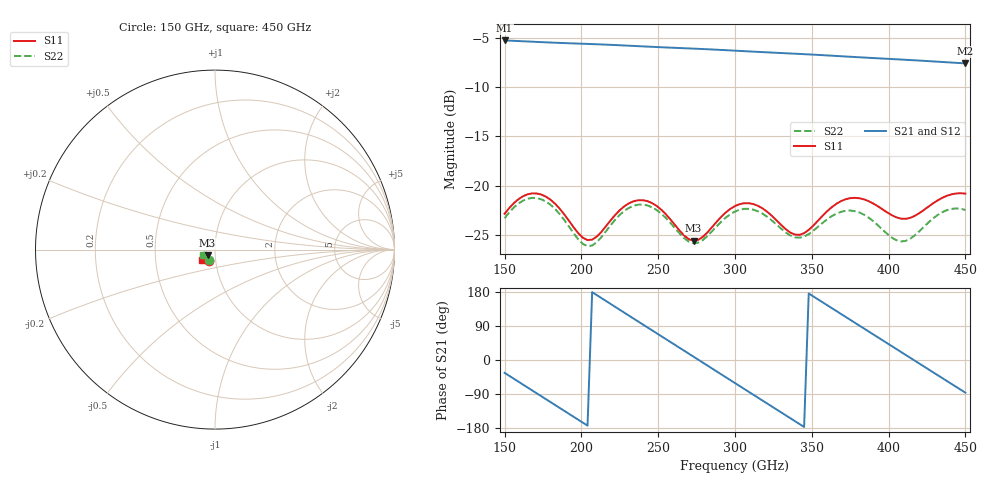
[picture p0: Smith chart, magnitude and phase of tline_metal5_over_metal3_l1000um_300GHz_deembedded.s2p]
! Created with skrf 2.0.1 (http://scikit-rf.org).
# GHz S DB R 50.0
!freq dBS11 angS11 dBS21 angS21 dBS12 angS12 dBS22 angS22
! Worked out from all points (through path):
!   101 points, 150 GHz to 450 GHz, reference 50 ohm
!   highest |S21| = -5.27 dB at 150 GHz (marker M1); lowest = -7.6 dB at 450 GHz (marker M2)
!   group delay of S21, straight-line fit = 7.15 ps
!   lowest |S11| = -25.6 dB at 273 GHz (marker M3), VSWR 1.11, Z = 45.9 - j2.96 ohm
!   |S11| at or under -10 dB: start of sweep to end of sweep
!   |S22| runs from -26.2 to -21.3 dB; largest |S21 - S12| = 8.7e-14
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150  -22.86 -119.2  -5.27 -33.9  -5.27 -33.9  -23.32 -121.5
162  -21.08 -127.9  -5.35 -64.9  -5.35 -64.9  -21.53 -131.4
174  -20.92 -141.8  -5.44 -95.9  -5.44 -95.9  -21.40 -146.2
186  -22.38 -152.7  -5.52 -126.8  -5.52 -126.8  -22.93 -157.7
201  -25.31 -146.7  -5.60 -165.5  -5.60 -165.5  -25.93 -151.8
216  -24.13 -127.8  -5.69 155.8  -5.69 155.8  -24.64 -133.0
231  -21.80 -133.7  -5.80 117.0  -5.80 117.0  -22.26 -139.9
240  -21.49 -142.4  -5.87 93.8  -5.87 93.8  -21.93 -149.1
252  -22.45 -152.7  -5.96 62.9  -5.96 62.9  -22.85 -160.0
273  -25.61 -142.2  -6.10 8.7  -6.10 8.7  -25.86 -151.9
285  -24.23 -129.0  -6.18 -22.2  -6.18 -22.2  -24.65 -140.3
300  -22.08 -133.6  -6.30 -60.9  -6.30 -60.9  -22.64 -145.2
321  -22.67 -149.0  -6.47 -115.0  -6.47 -115.0  -23.17 -161.1
336  -24.77 -144.5  -6.59 -153.5  -6.59 -153.5  -25.07 -158.5
351  -24.06 -127.8  -6.71 167.8  -6.71 167.8  -24.59 -145.9
366  -21.85 -128.9  -6.84 129.2  -6.84 129.2  -22.85 -148.4
378  -21.25 -137.2  -6.95 98.4  -6.95 98.4  -22.60 -157.2
390  -21.82 -144.1  -7.05 67.6  -7.05 67.6  -23.62 -163.9
402  -23.00 -143.5  -7.15 36.9  -7.15 36.9  -25.28 -160.8
423  -22.48 -130.4  -7.34 -17.1  -7.34 -17.1  -24.19 -142.7
438  -21.03 -133.6  -7.48 -55.5  -7.48 -55.5  -22.50 -148.4
450  -20.82 -140.4  -7.60 -86.2  -7.60 -86.2  -22.47 -157.1
